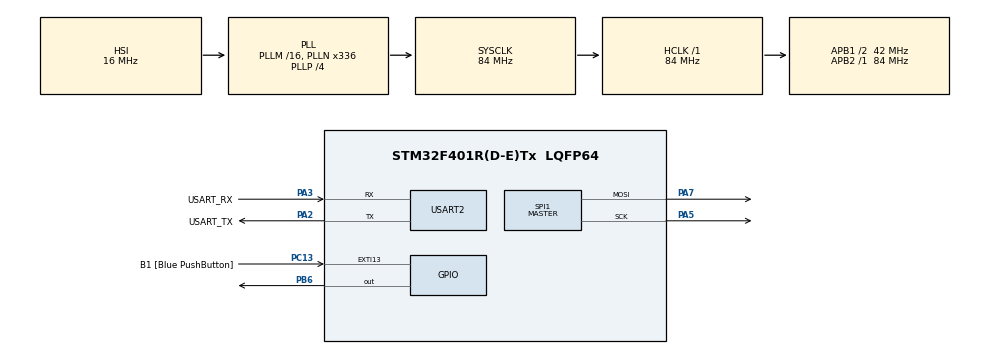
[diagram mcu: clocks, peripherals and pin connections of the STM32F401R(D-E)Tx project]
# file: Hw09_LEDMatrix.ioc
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Dma.Request0=SPI1_TX
Dma.SPI1_TX.0.Direction=DMA_MEMORY_TO_PERIPH
Dma.SPI1_TX.0.FIFOMode=DMA_FIFOMODE_DISABLE
Dma.SPI1_TX.0.Instance=DMA2_Stream3
Dma.SPI1_TX.0.MemDataAlignment=DMA_MDATAALIGN_BYTE
Dma.SPI1_TX.0.MemInc=DMA_MINC_ENABLE
Dma.SPI1_TX.0.Mode=DMA_NORMAL
Dma.SPI1_TX.0.PeriphDataAlignment=DMA_PDATAALIGN_BYTE
Dma.SPI1_TX.0.PeriphInc=DMA_PINC_DISABLE
Dma.SPI1_TX.0.Priority=DMA_PRIORITY_LOW
Mcu.Family=STM32F4
Mcu.Name=STM32F401R(D-E)Tx
Mcu.Package=LQFP64
NVIC.DMA2_Stream3_IRQn=true\:0\:0\:false\:false\:true\:false\:true\:true
NVIC.PriorityGroup=NVIC_PRIORITYGROUP_4
NVIC.SPI1_IRQn=true\:0\:0\:false\:false\:true\:true\:true\:true
NVIC.TIM2_IRQn=true\:0\:0\:false\:false\:true\:true\:true\:true
NVIC.TIM3_IRQn=true\:0\:0\:false\:false\:true\:true\:true\:true
PA13.GPIO_Label=TMS
PA13.Mode=Trace_Asynchronous_SW
PA13.Signal=SYS_JTMS-SWDIO
PA14.GPIO_Label=TCK
PA14.Mode=Trace_Asynchronous_SW
PA14.Signal=SYS_JTCK-SWCLK
PA2.GPIO_Label=USART_TX
PA2.GPIO_Mode=GPIO_MODE_AF_PP
PA2.GPIO_PuPd=GPIO_NOPULL
PA2.GPIO_Speed=GPIO_SPEED_FREQ_LOW
PA2.Mode=Asynchronous
PA2.Signal=USART2_TX
PA3.GPIO_Label=USART_RX
PA3.GPIO_Mode=GPIO_MODE_AF_PP
PA3.GPIO_PuPd=GPIO_NOPULL
PA3.GPIO_Speed=GPIO_SPEED_FREQ_LOW
PA3.Mode=Asynchronous
PA3.Signal=USART2_RX
PA5.Mode=TX_Only_Simplex_Unidirect_Master
PA5.Signal=SPI1_SCK
PA7.Mode=TX_Only_Simplex_Unidirect_Master
PA7.Signal=SPI1_MOSI
PB3.GPIO_Label=SWO
PB3.Mode=Trace_Asynchronous_SW
PB3.Signal=SYS_JTDO-SWO
PB6.Signal=GPIO_Output
PC13-ANTI_TAMP.GPIO_Label=B1 [Blue PushButton]
PC13-ANTI_TAMP.GPIO_ModeDefaultEXTI=GPIO_MODE_IT_FALLING
PC13-ANTI_TAMP.GPIO_PuPd=GPIO_NOPULL
PC13-ANTI_TAMP.Signal=GPXTI13
PC14-OSC32_IN.Mode=LSE-External-Oscillator
PC14-OSC32_IN.Signal=RCC_OSC32_IN
PC15-OSC32_OUT.Mode=LSE-External-Oscillator
PC15-OSC32_OUT.Signal=RCC_OSC32_OUT
PH0\ -\ OSC_IN.Mode=HSE-External-Clock-Source
PH0\ -\ OSC_IN.Signal=RCC_OSC_IN
PH1\ -\ OSC_OUT.Mode=HSE-External-Clock-Source
PH1\ -\ OSC_OUT.Signal=RCC_OSC_OUT
ProjectManager.HeapSize=0x200
ProjectManager.StackSize=0x400
ProjectManager.TargetToolchain=STM32CubeIDE
RCC.48MHZClocksFreq_Value=48000000
RCC.AHBFreq_Value=84000000
RCC.APB1CLKDivider=RCC_HCLK_DIV2
RCC.APB1Freq_Value=42000000
RCC.APB1TimFreq_Value=84000000
RCC.APB2Freq_Value=84000000
RCC.APB2TimFreq_Value=84000000
RCC.CortexFreq_Value=84000000
RCC.HCLKFreq_Value=84000000
RCC.HSE_VALUE=8000000
RCC.HSI_VALUE=16000000
RCC.PLLN=336
RCC.PLLP=RCC_PLLP_DIV4
RCC.PLLQ=7
RCC.SYSCLKFreq_VALUE=84000000
RCC.SYSCLKSource=RCC_SYSCLKSOURCE_PLLCLK
RCC.VCOOutputFreq_Value=336000000
SPI1.BaudRatePrescaler=SPI_BAUDRATEPRESCALER_4
SPI1.Direction=SPI_DIRECTION_2LINES
SPI1.Mode=SPI_MODE_MASTER
SPI1.VirtualType=VM_MASTER
TIM2.Period=39
TIM2.Prescaler=8399
TIM3.Period=9999
TIM3.Prescaler=8399
USART2.VirtualMode=VM_ASYNC
VP_TIM2_VS_ClockSourceINT.Mode=Internal
VP_TIM3_VS_ClockSourceINT.Mode=Internal
board=NUCLEO-F401RE

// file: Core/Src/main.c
/* USER CODE BEGIN Header */
/**
  ******************************************************************************
  * @file           : main.c
  * @brief          : Main program body
  ******************************************************************************
  * @attention
  *
  * Copyright (c) 2025 STMicroelectronics.
  * All rights reserved.
  *
  * This software is licensed under terms that can be found in the LICENSE file
  * in the root directory of this software component.
  * If no LICENSE file comes with this software, it is provided AS-IS.
  *
  ******************************************************************************
  */
/* USER CODE END Header */
#include "main.h"

/* USER CODE BEGIN PD */
#define COL 5
#define SYM 2
/* USER CODE END PD */

SPI_HandleTypeDef hspi1;
DMA_HandleTypeDef hdma_spi1_tx;

TIM_HandleTypeDef htim2;
TIM_HandleTypeDef htim3;

UART_HandleTypeDef huart2;

/* USER CODE BEGIN PV */
const uint8_t columns[COL] = {16, 8, 4, 2, 1};
const uint8_t rows[SYM][COL] = {{127, 73, 73, 73, 54}, {48, 73, 73, 73, 54}}; // B9
/* The following writes HELLO, remember to change SYM to 5
const uint8_t rows[SYM][COL] = {
	{127, 8, 8, 8, 127},
	{127, 73, 73, 73, 65},
	{127, 1, 1, 1, 1},
	{127, 1, 1, 1, 1},
	{127, 65, 65, 65, 127}};*/

volatile int current_column = 0;
volatile int current_symbol = 0;

uint8_t tx_buffer[2] = {0};
/* USER CODE END PV */

void SystemClock_Config(void);
static void MX_GPIO_Init(void);
static void MX_DMA_Init(void);
static void MX_USART2_UART_Init(void);
static void MX_SPI1_Init(void);
static void MX_TIM2_Init(void);
static void MX_TIM3_Init(void);

/* USER CODE BEGIN 0 */
void HAL_TIM_PeriodElapsedCallback(TIM_HandleTypeDef *htim) {
  if (htim->Instance == TIM2) {
	  tx_buffer[0] = rows[current_symbol][current_column];
	  tx_buffer[1] = columns[current_column];
	  HAL_SPI_Transmit_DMA(&hspi1, tx_buffer, 2);
  } else if (htim->Instance == TIM3) {
	  current_symbol = (current_symbol + 1) % SYM;
  }
}

void HAL_SPI_TxCpltCallback(SPI_HandleTypeDef *hspi){
    if (hspi->Instance == SPI1) {
        HAL_GPIO_WritePin(GPIOB, GPIO_PIN_6, GPIO_PIN_SET);
        HAL_GPIO_WritePin(GPIOB, GPIO_PIN_6, GPIO_PIN_RESET);

        current_column = (current_column + 1) % COL;
    }
}
/* USER CODE END 0 */

int main(void)
{

  /* MCU Configuration--------------------------------------------------------*/

  /* Reset of all peripherals, Initializes the Flash interface and the Systick. */
  HAL_Init();

  /* Configure the system clock */
  SystemClock_Config();

  /* Initialize all configured peripherals */
  MX_GPIO_Init();
  MX_DMA_Init();
  MX_USART2_UART_Init();
  MX_SPI1_Init();
  MX_TIM2_Init();
  MX_TIM3_Init();
  /* USER CODE BEGIN 2 */
  HAL_TIM_Base_Start_IT(&htim2);
  HAL_TIM_Base_Start_IT(&htim3);
  /* USER CODE END 2 */

  /* Infinite loop */
  while (1)
  {

  }
}

void SystemClock_Config(void)
{
  RCC_OscInitTypeDef RCC_OscInitStruct = {0};
  RCC_ClkInitTypeDef RCC_ClkInitStruct = {0};

  /** Configure the main internal regulator output voltage
  */
  __HAL_RCC_PWR_CLK_ENABLE();
  __HAL_PWR_VOLTAGESCALING_CONFIG(PWR_REGULATOR_VOLTAGE_SCALE2);

  /** Initializes the RCC Oscillators according to the specified parameters
  * in the RCC_OscInitTypeDef structure.
  */
  RCC_OscInitStruct.OscillatorType = RCC_OSCILLATORTYPE_HSI;
  RCC_OscInitStruct.HSIState = RCC_HSI_ON;
  RCC_OscInitStruct.HSICalibrationValue = RCC_HSICALIBRATION_DEFAULT;
  RCC_OscInitStruct.PLL.PLLState = RCC_PLL_ON;
  RCC_OscInitStruct.PLL.PLLSource = RCC_PLLSOURCE_HSI;
  RCC_OscInitStruct.PLL.PLLM = 16;
  RCC_OscInitStruct.PLL.PLLN = 336;
  RCC_OscInitStruct.PLL.PLLP = RCC_PLLP_DIV4;
  RCC_OscInitStruct.PLL.PLLQ = 7;
  if (HAL_RCC_OscConfig(&RCC_OscInitStruct) != HAL_OK)
  {
    Error_Handler();
  }

  /** Initializes the CPU, AHB and APB buses clocks
  */
  RCC_ClkInitStruct.ClockType = RCC_CLOCKTYPE_HCLK|RCC_CLOCKTYPE_SYSCLK
                              |RCC_CLOCKTYPE_PCLK1|RCC_CLOCKTYPE_PCLK2;
  RCC_ClkInitStruct.SYSCLKSource = RCC_SYSCLKSOURCE_PLLCLK;
  RCC_ClkInitStruct.AHBCLKDivider = RCC_SYSCLK_DIV1;
  RCC_ClkInitStruct.APB1CLKDivider = RCC_HCLK_DIV2;
  RCC_ClkInitStruct.APB2CLKDivider = RCC_HCLK_DIV1;

  if (HAL_RCC_ClockConfig(&RCC_ClkInitStruct, FLASH_LATENCY_2) != HAL_OK)
  {
    Error_Handler();
  }
}

static void MX_SPI1_Init(void)
{

  /* SPI1 parameter configuration*/
  hspi1.Instance = SPI1;
  hspi1.Init.Mode = SPI_MODE_MASTER;
  hspi1.Init.Direction = SPI_DIRECTION_2LINES;
  hspi1.Init.DataSize = SPI_DATASIZE_8BIT;
  hspi1.Init.CLKPolarity = SPI_POLARITY_LOW;
  hspi1.Init.CLKPhase = SPI_PHASE_1EDGE;
  hspi1.Init.NSS = SPI_NSS_SOFT;
  hspi1.Init.BaudRatePrescaler = SPI_BAUDRATEPRESCALER_4;
  hspi1.Init.FirstBit = SPI_FIRSTBIT_MSB;
  hspi1.Init.TIMode = SPI_TIMODE_DISABLE;
  hspi1.Init.CRCCalculation = SPI_CRCCALCULATION_DISABLE;
  hspi1.Init.CRCPolynomial = 10;
  if (HAL_SPI_Init(&hspi1) != HAL_OK)
  {
    Error_Handler();
  }

}

static void MX_TIM2_Init(void)
{

  TIM_ClockConfigTypeDef sClockSourceConfig = {0};
  TIM_MasterConfigTypeDef sMasterConfig = {0};

  htim2.Instance = TIM2;
  htim2.Init.Prescaler = 8399;
  htim2.Init.CounterMode = TIM_COUNTERMODE_UP;
  htim2.Init.Period = 39;
  htim2.Init.ClockDivision = TIM_CLOCKDIVISION_DIV1;
  htim2.Init.AutoReloadPreload = TIM_AUTORELOAD_PRELOAD_DISABLE;
  if (HAL_TIM_Base_Init(&htim2) != HAL_OK)
  {
    Error_Handler();
  }
  sClockSourceConfig.ClockSource = TIM_CLOCKSOURCE_INTERNAL;
  if (HAL_TIM_ConfigClockSource(&htim2, &sClockSourceConfig) != HAL_OK)
  {
    Error_Handler();
  }
  sMasterConfig.MasterOutputTrigger = TIM_TRGO_RESET;
  sMasterConfig.MasterSlaveMode = TIM_MASTERSLAVEMODE_DISABLE;
  if (HAL_TIMEx_MasterConfigSynchronization(&htim2, &sMasterConfig) != HAL_OK)
  {
    Error_Handler();
  }

}

static void MX_TIM3_Init(void)
{

  TIM_ClockConfigTypeDef sClockSourceConfig = {0};
  TIM_MasterConfigTypeDef sMasterConfig = {0};

  htim3.Instance = TIM3;
  htim3.Init.Prescaler = 8399;
  htim3.Init.CounterMode = TIM_COUNTERMODE_UP;
  htim3.Init.Period = 9999;
  htim3.Init.ClockDivision = TIM_CLOCKDIVISION_DIV1;
  htim3.Init.AutoReloadPreload = TIM_AUTORELOAD_PRELOAD_DISABLE;
  if (HAL_TIM_Base_Init(&htim3) != HAL_OK)
  {
    Error_Handler();
  }
  sClockSourceConfig.ClockSource = TIM_CLOCKSOURCE_INTERNAL;
  if (HAL_TIM_ConfigClockSource(&htim3, &sClockSourceConfig) != HAL_OK)
  {
    Error_Handler();
  }
  sMasterConfig.MasterOutputTrigger = TIM_TRGO_RESET;
  sMasterConfig.MasterSlaveMode = TIM_MASTERSLAVEMODE_DISABLE;
  if (HAL_TIMEx_MasterConfigSynchronization(&htim3, &sMasterConfig) != HAL_OK)
  {
    Error_Handler();
  }

}

static void MX_USART2_UART_Init(void)
{

  huart2.Instance = USART2;
  huart2.Init.BaudRate = 115200;
  huart2.Init.WordLength = UART_WORDLENGTH_8B;
  huart2.Init.StopBits = UART_STOPBITS_1;
  huart2.Init.Parity = UART_PARITY_NONE;
  huart2.Init.Mode = UART_MODE_TX_RX;
  huart2.Init.HwFlowCtl = UART_HWCONTROL_NONE;
  huart2.Init.OverSampling = UART_OVERSAMPLING_16;
  if (HAL_UART_Init(&huart2) != HAL_OK)
  {
    Error_Handler();
  }

}

static void MX_DMA_Init(void)
{

  /* DMA controller clock enable */
  __HAL_RCC_DMA2_CLK_ENABLE();

  /* DMA interrupt init */
  /* DMA2_Stream3_IRQn interrupt configuration */
  HAL_NVIC_SetPriority(DMA2_Stream3_IRQn, 0, 0);
  HAL_NVIC_EnableIRQ(DMA2_Stream3_IRQn);

}

static void MX_GPIO_Init(void)
{
  GPIO_InitTypeDef GPIO_InitStruct = {0};

  /* GPIO Ports Clock Enable */
  __HAL_RCC_GPIOC_CLK_ENABLE();
  __HAL_RCC_GPIOH_CLK_ENABLE();
  __HAL_RCC_GPIOA_CLK_ENABLE();
  __HAL_RCC_GPIOB_CLK_ENABLE();

  /*Configure GPIO pin Output Level */
  HAL_GPIO_WritePin(GPIOB, GPIO_PIN_6, GPIO_PIN_RESET);

  /*Configure GPIO pin : B1_Pin */
  GPIO_InitStruct.Pin = B1_Pin;
  GPIO_InitStruct.Mode = GPIO_MODE_IT_FALLING;
  GPIO_InitStruct.Pull = GPIO_NOPULL;
  HAL_GPIO_Init(B1_GPIO_Port, &GPIO_InitStruct);

  /*Configure GPIO pin : PB6 */
  GPIO_InitStruct.Pin = GPIO_PIN_6;
  GPIO_InitStruct.Mode = GPIO_MODE_OUTPUT_PP;
  GPIO_InitStruct.Pull = GPIO_NOPULL;
  GPIO_InitStruct.Speed = GPIO_SPEED_FREQ_LOW;
  HAL_GPIO_Init(GPIOB, &GPIO_InitStruct);

}

void Error_Handler(void)
{
  __disable_irq();
  while (1)
  {
  }
}
